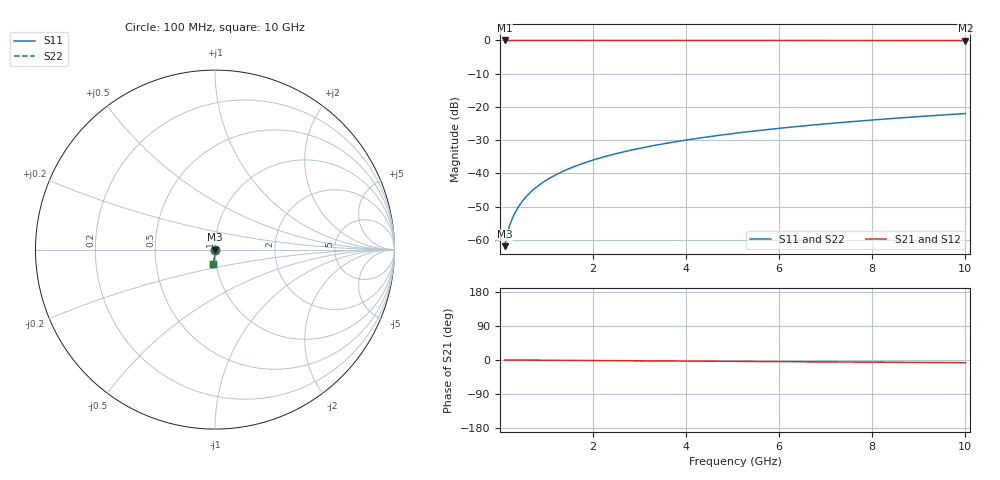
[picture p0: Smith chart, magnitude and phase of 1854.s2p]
# Hz S RI R 50.00
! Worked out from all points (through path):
!   100 points, 100 MHz to 10 GHz, reference 50 ohm
!   highest |S21| = 0.00 dB at 100 MHz (marker M1); lowest = 0.0 dB at 10 GHz (marker M2)
!   lowest |S11| = -61.9 dB at 100 MHz (marker M3), VSWR 1.00, Z = 50 - j0.0792 ohm
!   |S11| at or under -10 dB: start of sweep to end of sweep
!   |S22| runs from -61.9 to -22.0 dB; largest |S21 - S12| = 0
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1e8  0.000129 -0.000792  0.9999 -0.00124  0.9999 -0.00124  0.000129 -0.000792
2e8  0.000126 -0.00158  0.9999 -0.00248  0.9999 -0.00248  0.000126 -0.00158
3e8  0.000121 -0.00238  0.9999 -0.00371  0.9999 -0.00371  0.000121 -0.00238
4e8  0.000113 -0.00317  0.9998 -0.00495  0.9998 -0.00495  0.000113 -0.00317
5e8  0.000104 -0.00396  0.9998 -0.00619  0.9998 -0.00619  0.000104 -0.00396
6e8  9.27e-05 -0.00475  0.9998 -0.00743  0.9998 -0.00743  9.27e-05 -0.00475
7e8  7.93e-05 -0.00555  0.9998 -0.00867  0.9998 -0.00867  7.93e-05 -0.00555
8e8  6.4e-05 -0.00634  0.9998 -0.0099  0.9998 -0.0099  6.4e-05 -0.00634
9e8  4.67e-05 -0.00713  0.9998 -0.0111  0.9998 -0.0111  4.67e-05 -0.00713
1.1e9  6.06e-06 -0.00871  0.9997 -0.0136  0.9997 -0.0136  6.06e-06 -0.00871
1.4e9  -6.97e-05 -0.0111  0.9996 -0.0173  0.9996 -0.0173  -6.97e-05 -0.0111
1.8e9  -0.000198 -0.0143  0.9995 -0.0223  0.9995 -0.0223  -0.000198 -0.0143
2.1e9  -0.000315 -0.0166  0.9994 -0.026  0.9994 -0.026  -0.000315 -0.0166
2.5e9  -0.000499 -0.0198  0.9992 -0.031  0.9992 -0.031  -0.000499 -0.0198
2.9e9  -0.000715 -0.023  0.9989 -0.0359  0.9989 -0.0359  -0.000715 -0.023
3.4e9  -0.00103 -0.0269  0.9986 -0.0421  0.9986 -0.0421  -0.00103 -0.0269
4.2e9  -0.00163 -0.0333  0.9979 -0.052  0.9979 -0.052  -0.00163 -0.0333
5.1e9  -0.00246 -0.0404  0.997 -0.0632  0.997 -0.0632  -0.00246 -0.0404
5.9e9  -0.00334 -0.0467  0.996 -0.0731  0.996 -0.0731  -0.00334 -0.0467
6.7e9  -0.00434 -0.053  0.9949 -0.0829  0.9949 -0.0829  -0.00434 -0.053
8.4e9  -0.00688 -0.0663  0.9921 -0.1039  0.9921 -0.1039  -0.00688 -0.0663
1e10  -0.00979 -0.0788  0.9889 -0.1236  0.9889 -0.1236  -0.00979 -0.0788
